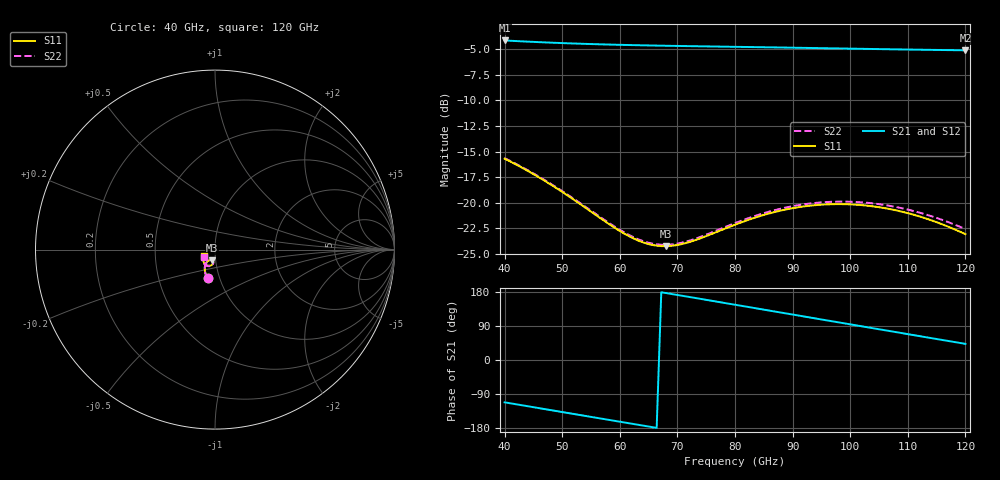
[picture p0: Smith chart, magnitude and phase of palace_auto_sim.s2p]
#  GHZ S DB R 50
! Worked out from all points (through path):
!   101 points, 40 GHz to 120 GHz, reference 50 ohm
!   highest |S21| = -4.15 dB at 40 GHz (marker M1); lowest = -5.1 dB at 120 GHz (marker M2)
!   group delay of S21, straight-line fit = 7.15 ps
!   lowest |S11| = -24.2 dB at 68 GHz (marker M3), VSWR 1.13, Z = 47.9 - j5.64 ohm
!   |S11| at or under -10 dB: start of sweep to end of sweep
!   |S22| runs from -24.1 to -15.6 dB; largest |S21 - S12| = 6.8e-14
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40  -15.69 -104.2  -4.15 -111.7  -4.15 -111.7  -15.63 -104.2
43.2  -16.63 -110.2  -4.24 -119.9  -4.24 -119.9  -16.56 -110.2
47.2  -17.93 -116.5  -4.34 -130.2  -4.34 -130.2  -17.86 -116.6
53.6  -20.31 -122.7  -4.48 -146.5  -4.48 -146.5  -20.21 -122.7
57.6  -21.87 -122.8  -4.54 -156.7  -4.54 -156.7  -21.76 -122.8
61.6  -23.26 -119.2  -4.60 -166.9  -4.60 -166.9  -23.14 -119.2
64.8  -24.00 -113.7  -4.63 -175.1  -4.63 -175.1  -23.87 -113.7
67.2  -24.22 -108.9  -4.66 178.8  -4.66 178.8  -24.09 -109.0
68  -24.23 -107.4  -4.67 176.7  -4.67 176.7  -24.10 -107.4
70.4  -24.07 -103.1  -4.69 170.6  -4.69 170.6  -23.94 -103.1
73.6  -23.55 -99.1  -4.72 162.3  -4.72 162.3  -23.41 -99.1
80  -22.14 -98.0  -4.77 145.8  -4.77 145.8  -21.98 -97.8
84  -21.35 -100.8  -4.80 135.5  -4.80 135.5  -21.18 -100.5
87.2  -20.85 -104.2  -4.83 127.2  -4.83 127.2  -20.67 -103.9
90.4  -20.48 -108.4  -4.86 118.9  -4.86 118.9  -20.29 -108.0
93.6  -20.24 -113.0  -4.89 110.6  -4.89 110.6  -20.03 -112.6
96.8  -20.13 -117.8  -4.92 102.4  -4.92 102.4  -19.90 -117.4
100  -20.15 -122.8  -4.95 94.1  -4.95 94.1  -19.89 -122.3
103.2  -20.29 -127.8  -4.98 85.8  -4.98 85.8  -20.01 -127.2
107.2  -20.64 -133.7  -5.01 75.5  -5.01 75.5  -20.33 -133.1
113.6  -21.61 -141.9  -5.06 59.0  -5.06 59.0  -21.22 -141.2
120  -23.06 -147.0  -5.11 42.5  -5.11 42.5  -22.56 -146.6
